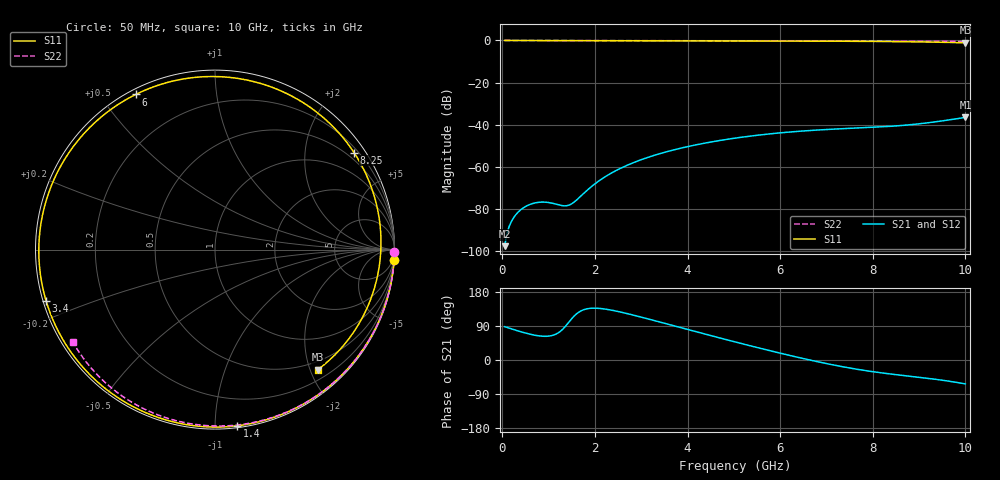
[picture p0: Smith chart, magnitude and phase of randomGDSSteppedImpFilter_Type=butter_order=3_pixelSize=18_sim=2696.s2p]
! freq	dB(S11)	phase(S11)	dB(S12)	phase(S12)
!  dB(S21)	phase(S21)	dB(S22)	phase(S22)
!S-par simulation data
#  GHz  S  DB  R 50
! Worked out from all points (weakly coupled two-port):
!   200 points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, 50 MHz to 10 GHz, reference 50 ohm
!   highest |S21| = -36.47 dB at 10 GHz (marker M1); lowest = -97.5 dB at 50 MHz (marker M2)
!   lowest |S11| = -1.1 dB at 10 GHz (marker M3), VSWR 15.77, Z = 17.8 - j106 ohm
!   |S11| at or under -10 dB: nowhere
!   |S22| runs from -0.5 to 0.0 dB; largest |S21 - S12| = 0
!   S11 on the Smith chart (normalised r, x): 50 MHz: 0, -35; 1.4 GHz: 0.01, -1.13; 3.4 GHz: 0.01, -0.15; 6 GHz: 0.02, +0.61; 8.25 GHz: 0.31, +3.15; 10 GHz: 0.36, -2.12
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0.05  -0.00 -3.3  -97.54 88.0  -97.54 88.0  -0.00 -0.9
0.4  -0.04 -25.6  -80.24 74.6  -80.24 74.6  -0.01 -6.8
0.75  -0.06 -47.0  -76.86 64.4  -76.86 64.4  -0.02 -12.7
1.05  -0.08 -64.3  -77.04 63.9  -77.04 63.9  -0.02 -17.8
1.4  -0.09 -82.9  -78.33 94.2  -78.33 94.2  -0.03 -23.6
1.55  -0.10 -90.4  -76.66 115.8  -76.66 115.8  -0.03 -26.1
1.75  -0.10 -99.9  -72.69 132.3  -72.69 132.3  -0.04 -29.4
2.1  -0.11 -115.4  -66.38 136.1  -66.38 136.1  -0.05 -35.1
2.45  -0.12 -129.5  -61.76 129.3  -61.76 129.3  -0.05 -40.8
2.9  -0.13 -146.2  -57.36 116.3  -57.36 116.3  -0.06 -48.0
3.4  -0.14 -163.1  -53.69 100.3  -53.69 100.3  -0.07 -55.9
4.2  -0.17 171.8  -49.42 74.1  -49.42 74.1  -0.10 -68.1
5.05  -0.21 146.3  -46.24 47.0  -46.24 47.0  -0.12 -80.6
6  -0.26 117.1  -43.81 18.0  -43.81 18.0  -0.16 -94.1
6.7  -0.31 94.1  -42.61 -1.6  -42.61 -1.6  -0.20 -103.7
7.5  -0.38 65.2  -41.70 -21.1  -41.70 -21.1  -0.25 -114.4
8.25  -0.50 34.9  -40.90 -34.9  -40.90 -34.9  -0.31 -124.2
8.35  -0.51 30.6  -40.76 -36.4  -40.76 -36.4  -0.32 -125.5
8.8  -0.62 10.5  -39.98 -42.8  -39.98 -42.8  -0.36 -131.4
9.2  -0.75 -8.5  -39.02 -48.5  -39.02 -48.5  -0.40 -136.5
9.6  -0.91 -28.5  -37.83 -55.1  -37.83 -55.1  -0.45 -141.7
10  -1.10 -49.4  -36.47 -63.1  -36.47 -63.1  -0.50 -146.9
